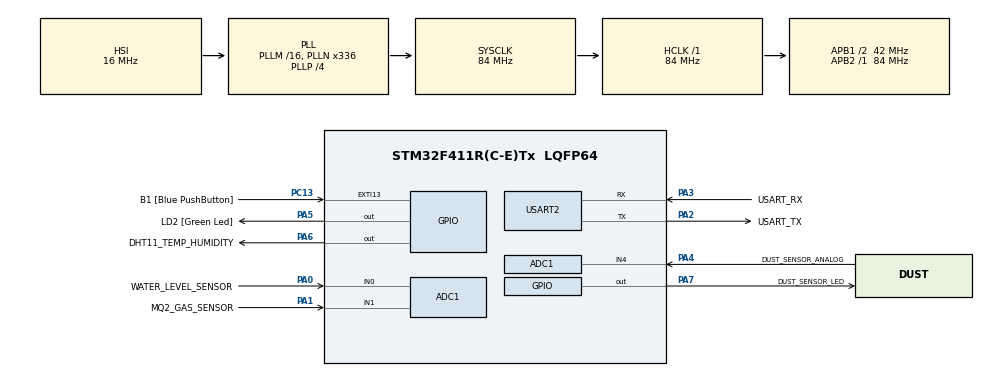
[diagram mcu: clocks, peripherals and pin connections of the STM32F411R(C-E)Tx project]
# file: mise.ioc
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ADC1.Channel-0\#ChannelRegularConversion=ADC_CHANNEL_0
ADC1.Channel-1\#ChannelRegularConversion=ADC_CHANNEL_1
ADC1.Channel-2\#ChannelRegularConversion=ADC_CHANNEL_4
ADC1.NbrOfConversion=3
ADC1.NbrOfConversionFlag=1
ADC1.Rank-0\#ChannelRegularConversion=1
ADC1.Rank-1\#ChannelRegularConversion=2
ADC1.Rank-2\#ChannelRegularConversion=3
ADC1.SamplingTime-0\#ChannelRegularConversion=ADC_SAMPLETIME_84CYCLES
ADC1.SamplingTime-1\#ChannelRegularConversion=ADC_SAMPLETIME_84CYCLES
ADC1.SamplingTime-2\#ChannelRegularConversion=ADC_SAMPLETIME_84CYCLES
ADC1.ScanConvMode=ENABLE
ADC1.master=1
Mcu.Family=STM32F4
Mcu.Name=STM32F411R(C-E)Tx
Mcu.Package=LQFP64
NVIC.PriorityGroup=NVIC_PRIORITYGROUP_0
NVIC.TIM2_IRQn=true\:0\:0\:false\:false\:true\:true\:true\:true
PA0-WKUP.GPIO_Label=WATER_LEVEL_SENSOR
PA0-WKUP.Signal=ADCx_IN0
PA1.GPIO_Label=MQ2_GAS_SENSOR
PA1.Signal=ADCx_IN1
PA13.GPIO_Label=TMS
PA13.Mode=Serial_Wire
PA13.Signal=SYS_JTMS-SWDIO
PA14.GPIO_Label=TCK
PA14.Mode=Serial_Wire
PA14.Signal=SYS_JTCK-SWCLK
PA2.GPIO_Label=USART_TX
PA2.Mode=Asynchronous
PA2.Signal=USART2_TX
PA3.GPIO_Label=USART_RX
PA3.Mode=Asynchronous
PA3.Signal=USART2_RX
PA4.GPIO_Label=DUST_SENSOR_ANALOG
PA4.Signal=ADCx_IN4
PA5.GPIO_Label=LD2 [Green Led]
PA5.Signal=GPIO_Output
PA6.GPIO_Label=DHT11_TEMP_HUMIDITY
PA6.Signal=GPIO_Output
PA7.GPIO_Label=DUST_SENSOR_LED
PA7.Signal=GPIO_Output
PB3.GPIO_Label=SWO
PB3.Signal=SYS_JTDO-SWO
PC13-ANTI_TAMP.GPIO_Label=B1 [Blue PushButton]
PC13-ANTI_TAMP.GPIO_ModeDefaultEXTI=GPIO_MODE_IT_FALLING
PC13-ANTI_TAMP.Signal=GPXTI13
PC14-OSC32_IN.Mode=LSE-External-Oscillator
PC14-OSC32_IN.Signal=RCC_OSC32_IN
PC15-OSC32_OUT.Mode=LSE-External-Oscillator
PC15-OSC32_OUT.Signal=RCC_OSC32_OUT
PH0\ -\ OSC_IN.Mode=HSE-External-Clock-Source
PH0\ -\ OSC_IN.Signal=RCC_OSC_IN
PH1\ -\ OSC_OUT.Mode=HSE-External-Clock-Source
PH1\ -\ OSC_OUT.Signal=RCC_OSC_OUT
ProjectManager.HeapSize=0x200
ProjectManager.StackSize=0x400
ProjectManager.TargetToolchain=STM32CubeIDE
RCC.48MHZClocksFreq_Value=84000000
RCC.AHBFreq_Value=84000000
RCC.APB1CLKDivider=RCC_HCLK_DIV2
RCC.APB1Freq_Value=42000000
RCC.APB1TimFreq_Value=84000000
RCC.APB2Freq_Value=84000000
RCC.APB2TimFreq_Value=84000000
RCC.CortexFreq_Value=84000000
RCC.FLatency-AdvancedSettings=FLASH_LATENCY_2
RCC.HCLKFreq_Value=84000000
RCC.HSE_VALUE=8000000
RCC.HSI_VALUE=16000000
RCC.PLLN=336
RCC.PLLP=RCC_PLLP_DIV4
RCC.SYSCLKFreq_VALUE=84000000
RCC.SYSCLKSource=RCC_SYSCLKSOURCE_PLLCLK
RCC.VCOOutputFreq_Value=336000000
SH.ADCx_IN0.0=ADC1_IN0,IN0
SH.ADCx_IN1.0=ADC1_IN1,IN1
SH.ADCx_IN4.0=ADC1_IN4,IN4
TIM2.Prescaler=8399
USART2.VirtualMode=VM_ASYNC
VP_TIM2_VS_ClockSourceINT.Mode=Internal
board=NUCLEO-F411RE

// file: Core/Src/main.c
/* USER CODE BEGIN Header */
/**
  ******************************************************************************
  * @file           : main.c
  * @brief          : Main program body
  ******************************************************************************
  * @attention
  *
  * Copyright (c) 2025 STMicroelectronics.
  * All rights reserved.
  *
  * This software is licensed under terms that can be found in the LICENSE file
  * in the root directory of this software component.
  * If no LICENSE file comes with this software, it is provided AS-IS.
  *
  ******************************************************************************
  */
/* USER CODE END Header */
#include "main.h"

/* USER CODE BEGIN Includes */
#include <stdio.h>
#include <string.h>
#include <math.h>
/* USER CODE END Includes */

UART_HandleTypeDef huart2;
ADC_HandleTypeDef hadc1;
TIM_HandleTypeDef htim2;

/* USER CODE BEGIN PV */
// 센서 데이터 저장 변수
float water_level_voltage = 0.0f;
float mq2_voltage = 0.0f;
float dust_voltage = 0.0f;
float dust_density = 0.0f;
float temperature = 0.0f;
float humidity = 0.0f;

// 타이머 플래그
volatile uint8_t timer_flag = 0;

// ADC 버퍼
uint32_t adc_buffer[3] = {0};
/* USER CODE END PV */

void SystemClock_Config(void);
static void MX_GPIO_Init(void);
static void MX_USART2_UART_Init(void);
static void MX_ADC1_Init(void);
static void MX_TIM2_Init(void);
/* USER CODE BEGIN PFP */
int __io_putchar(int ch)
{
	HAL_UART_Transmit(&huart2, (uint8_t*)&ch, 1, 0xFFFF);
	return ch;
}

// 센서 관련 함수들
void Read_ADC_Sensors(void);
void Read_Dust_Sensor(void);
void delay_us(uint32_t us);
uint8_t Read_DHT11(float *temperature, float *humidity);
void Process_Sensor_Data(void);
void Print_Sensor_Data(void);
void HAL_TIM_PeriodElapsedCallback(TIM_HandleTypeDef *htim);
/* USER CODE END PFP */

int main(void)
{

  /* MCU Configuration--------------------------------------------------------*/

  /* Reset of all peripherals, Initializes the Flash interface and the Systick. */
  HAL_Init();

  /* Configure the system clock */
  SystemClock_Config();

  /* Initialize all configured peripherals */
  MX_GPIO_Init();
  MX_USART2_UART_Init();
  MX_ADC1_Init();
  MX_TIM2_Init();
  /* USER CODE BEGIN 2 */

  // 타이머 시작
  HAL_TIM_Base_Start_IT(&htim2);

  printf("STM32 센서 모니터링 시스템 시작\r\n");
  printf("센서: 물수위, MQ2 가스, 미세먼지, DHT11 온습도\r\n");
  printf("측정 주기: 3초\r\n\r\n");

  // 디버깅: 타이머 상태 확인
  printf("타이머 상태 확인:\r\n");
  printf("TIM2 CR1: 0x%08X\r\n", TIM2->CR1);
  printf("TIM2 DIER: 0x%08X\r\n", TIM2->DIER);
  printf("TIM2 PSC: %lu\r\n", TIM2->PSC);
  printf("TIM2 ARR: %lu\r\n", TIM2->ARR);
  printf("TIM2 CNT: %lu\r\n", TIM2->CNT);
  printf("NVIC ISER: 0x%08X\r\n", NVIC->ISER[0]);
  printf("==============================\r\n\r\n");
  /* USER CODE END 2 */

  /* Infinite loop */
  while (1)
  {

    /* USER CODE BEGIN 3 */
    // 타이머 인터럽트가 발생하면 센서 데이터 읽기
    if (timer_flag) {
      timer_flag = 0;

      printf("타이머 인터럽트 발생! 센서 데이터 읽기 시작...\r\n");

      // 미세먼지 센서 LED 제어 (ADC 읽기 전에 실행)
      Read_Dust_Sensor();

      // ADC 센서들 읽기
      Read_ADC_Sensors();

      // DHT11 온습도 센서 읽기
      Read_DHT11(&temperature, &humidity);

      // 센서 데이터 처리
      Process_Sensor_Data();

      // 센서 데이터 출력
      Print_Sensor_Data();
    }

    // 1초마다 상태 확인 (디버깅용)
    static uint32_t last_check = 0;
    if (HAL_GetTick() - last_check > 1000) {
      last_check = HAL_GetTick();
      printf("시스템 동작 중... 타이머 플래그: %d, TIM2 CNT: %lu\r\n", timer_flag, TIM2->CNT);
    }

    HAL_Delay(10);  // CPU 부하 감소
  }
  /* USER CODE END 3 */
}

void SystemClock_Config(void)
{
  RCC_OscInitTypeDef RCC_OscInitStruct = {0};
  RCC_ClkInitTypeDef RCC_ClkInitStruct = {0};

  /** Configure the main internal regulator output voltage
  */
  __HAL_RCC_PWR_CLK_ENABLE();
  __HAL_PWR_VOLTAGESCALING_CONFIG(PWR_REGULATOR_VOLTAGE_SCALE1);

  /** Initializes the RCC Oscillators according to the specified parameters
  * in the RCC_OscInitTypeDef structure.
  */
  RCC_OscInitStruct.OscillatorType = RCC_OSCILLATORTYPE_HSI;
  RCC_OscInitStruct.HSIState = RCC_HSI_ON;
  RCC_OscInitStruct.HSICalibrationValue = RCC_HSICALIBRATION_DEFAULT;
  RCC_OscInitStruct.PLL.PLLState = RCC_PLL_ON;
  RCC_OscInitStruct.PLL.PLLSource = RCC_PLLSOURCE_HSI;
  RCC_OscInitStruct.PLL.PLLM = 16;
  RCC_OscInitStruct.PLL.PLLN = 336;
  RCC_OscInitStruct.PLL.PLLP = RCC_PLLP_DIV4;
  RCC_OscInitStruct.PLL.PLLQ = 4;
  if (HAL_RCC_OscConfig(&RCC_OscInitStruct) != HAL_OK)
  {
    Error_Handler();
  }

  /** Initializes the CPU, AHB and APB buses clocks
  */
  RCC_ClkInitStruct.ClockType = RCC_CLOCKTYPE_HCLK|RCC_CLOCKTYPE_SYSCLK
                              |RCC_CLOCKTYPE_PCLK1|RCC_CLOCKTYPE_PCLK2;
  RCC_ClkInitStruct.SYSCLKSource = RCC_SYSCLKSOURCE_PLLCLK;
  RCC_ClkInitStruct.AHBCLKDivider = RCC_SYSCLK_DIV1;
  RCC_ClkInitStruct.APB1CLKDivider = RCC_HCLK_DIV2;
  RCC_ClkInitStruct.APB2CLKDivider = RCC_HCLK_DIV1;

  if (HAL_RCC_ClockConfig(&RCC_ClkInitStruct, FLASH_LATENCY_2) != HAL_OK)
  {
    Error_Handler();
  }
}

static void MX_USART2_UART_Init(void)
{

  huart2.Instance = USART2;
  huart2.Init.BaudRate = 115200;
  huart2.Init.WordLength = UART_WORDLENGTH_8B;
  huart2.Init.StopBits = UART_STOPBITS_1;
  huart2.Init.Parity = UART_PARITY_NONE;
  huart2.Init.Mode = UART_MODE_TX_RX;
  huart2.Init.HwFlowCtl = UART_HWCONTROL_NONE;
  huart2.Init.OverSampling = UART_OVERSAMPLING_16;
  if (HAL_UART_Init(&huart2) != HAL_OK)
  {
    Error_Handler();
  }

}

static void MX_ADC1_Init(void)
{
  ADC_ChannelConfTypeDef sConfig = {0};

  /** Configure the global features of the ADC (Clock, Resolution, Data Alignment and number of conversion)
  */
  hadc1.Instance = ADC1;
  hadc1.Init.ClockPrescaler = ADC_CLOCK_SYNC_PCLK_DIV4;
  hadc1.Init.Resolution = ADC_RESOLUTION_12B;
  hadc1.Init.ScanConvMode = ENABLE;
  hadc1.Init.ContinuousConvMode = DISABLE;
  hadc1.Init.DiscontinuousConvMode = DISABLE;
  hadc1.Init.ExternalTrigConvEdge = ADC_EXTERNALTRIGCONVEDGE_NONE;
  hadc1.Init.ExternalTrigConv = ADC_SOFTWARE_START;
  hadc1.Init.DataAlign = ADC_DATAALIGN_RIGHT;
  hadc1.Init.NbrOfConversion = 3;
  hadc1.Init.DMAContinuousRequests = DISABLE;
  hadc1.Init.EOCSelection = ADC_EOC_SINGLE_CONV;
  if (HAL_ADC_Init(&hadc1) != HAL_OK)
  {
    Error_Handler();
  }

  /** Configure for the selected ADC regular channel its corresponding rank in the sequencer and its sample time.
  */
  sConfig.Channel = ADC_CHANNEL_0;  // 물수위 센서 (PA0)
  sConfig.Rank = 1;
  sConfig.SamplingTime = ADC_SAMPLETIME_84CYCLES;
  if (HAL_ADC_ConfigChannel(&hadc1, &sConfig) != HAL_OK)
  {
    Error_Handler();
  }

  /** Configure for the selected ADC regular channel its corresponding rank in the sequencer and its sample time.
  */
  sConfig.Channel = ADC_CHANNEL_1;  // MQ2 가스 센서 (PA1)
  sConfig.Rank = 2;
  sConfig.SamplingTime = ADC_SAMPLETIME_84CYCLES;
  if (HAL_ADC_ConfigChannel(&hadc1, &sConfig) != HAL_OK)
  {
    Error_Handler();
  }

  /** Configure for the selected ADC regular channel its corresponding rank in the sequencer and its sample time.
  */
  sConfig.Channel = ADC_CHANNEL_4;  // 미세먼지 센서 (PA4)
  sConfig.Rank = 3;
  sConfig.SamplingTime = ADC_SAMPLETIME_84CYCLES;
  if (HAL_ADC_ConfigChannel(&hadc1, &sConfig) != HAL_OK)
  {
    Error_Handler();
  }
}

static void MX_TIM2_Init(void)
{
  TIM_ClockConfigTypeDef sClockSourceConfig = {0};
  TIM_MasterConfigTypeDef sMasterConfig = {0};

  htim2.Instance = TIM2;
  htim2.Init.Prescaler = 8399;  // 84MHz / 8400 = 10kHz
  htim2.Init.CounterMode = TIM_COUNTERMODE_UP;
  htim2.Init.Period = 30000;    // 10kHz / 30000 = 3초
  htim2.Init.ClockDivision = TIM_CLOCKDIVISION_DIV1;
  htim2.Init.AutoReloadPreload = TIM_AUTORELOAD_PRELOAD_DISABLE;
  if (HAL_TIM_Base_Init(&htim2) != HAL_OK)
  {
    Error_Handler();
  }
  sClockSourceConfig.ClockSource = TIM_CLOCKSOURCE_INTERNAL;
  if (HAL_TIM_ConfigClockSource(&htim2, &sClockSourceConfig) != HAL_OK)
  {
    Error_Handler();
  }
  sMasterConfig.MasterOutputTrigger = TIM_TRGO_RESET;
  sMasterConfig.MasterSlaveMode = TIM_MASTERSLAVEMODE_DISABLE;
  if (HAL_TIMEx_MasterConfigSynchronization(&htim2, &sMasterConfig) != HAL_OK)
  {
    Error_Handler();
  }
}

static void MX_GPIO_Init(void)
{
  GPIO_InitTypeDef GPIO_InitStruct = {0};

  /* GPIO Ports Clock Enable */
  __HAL_RCC_GPIOC_CLK_ENABLE();
  __HAL_RCC_GPIOH_CLK_ENABLE();
  __HAL_RCC_GPIOA_CLK_ENABLE();
  __HAL_RCC_GPIOB_CLK_ENABLE();
  __HAL_RCC_ADC1_CLK_ENABLE();
  __HAL_RCC_TIM2_CLK_ENABLE();

  /*Configure GPIO pin Output Level */
  HAL_GPIO_WritePin(LD2_GPIO_Port, LD2_Pin, GPIO_PIN_RESET);

  /*Configure GPIO pin : B1_Pin */
  GPIO_InitStruct.Pin = B1_Pin;
  GPIO_InitStruct.Mode = GPIO_MODE_IT_FALLING;
  GPIO_InitStruct.Pull = GPIO_NOPULL;
  HAL_GPIO_Init(B1_GPIO_Port, &GPIO_InitStruct);

  /*Configure GPIO pin : LD2_Pin */
  GPIO_InitStruct.Pin = LD2_Pin;
  GPIO_InitStruct.Mode = GPIO_MODE_OUTPUT_PP;
  GPIO_InitStruct.Pull = GPIO_NOPULL;
  GPIO_InitStruct.Speed = GPIO_SPEED_FREQ_LOW;
  HAL_GPIO_Init(LD2_GPIO_Port, &GPIO_InitStruct);

  /* USER CODE BEGIN MX_GPIO_Init_2 */

  // ADC 센서 핀들 설정 (PA0, PA1, PA4)
  GPIO_InitStruct.Pin = WATER_LEVEL_SENSOR_Pin | MQ2_GAS_SENSOR_Pin | DUST_SENSOR_ANALOG_Pin;
  GPIO_InitStruct.Mode = GPIO_MODE_ANALOG;
  GPIO_InitStruct.Pull = GPIO_NOPULL;
  HAL_GPIO_Init(GPIOA, &GPIO_InitStruct);

  // DHT11 핀 설정 (PA6) - 디지털 입출력
  GPIO_InitStruct.Pin = DHT11_TEMP_HUMIDITY_Pin;
  GPIO_InitStruct.Mode = GPIO_MODE_OUTPUT_PP;
  GPIO_InitStruct.Pull = GPIO_NOPULL;
  GPIO_InitStruct.Speed = GPIO_SPEED_FREQ_LOW;
  HAL_GPIO_Init(DHT11_TEMP_HUMIDITY_GPIO_Port, &GPIO_InitStruct);

  // 미세먼지 센서 LED 핀 설정 (PA7)
  GPIO_InitStruct.Pin = DUST_SENSOR_LED_Pin;
  GPIO_InitStruct.Mode = GPIO_MODE_OUTPUT_PP;
  GPIO_InitStruct.Pull = GPIO_NOPULL;
  GPIO_InitStruct.Speed = GPIO_SPEED_FREQ_LOW;
  HAL_GPIO_Init(DUST_SENSOR_LED_GPIO_Port, &GPIO_InitStruct);

  /* USER CODE END MX_GPIO_Init_2 */
}

/* USER CODE BEGIN 4 */

/**
  * @brief ADC 센서들 읽기
  * @retval None
  */
void Read_ADC_Sensors(void)
{
  printf("ADC 센서 읽기 시작...\r\n");

  // ADC 변환 시작
  if (HAL_ADC_Start(&hadc1) != HAL_OK) {
    printf("ADC 시작 실패!\r\n");
    return;
  }

  // 모든 채널을 한 번에 읽기 (스캔 모드)
  if (HAL_ADC_PollForConversion(&hadc1, 1000) == HAL_OK) {
    adc_buffer[0] = HAL_ADC_GetValue(&hadc1);  // 물수위 센서 (Rank 1)
    printf("물수위 ADC: %lu\r\n", adc_buffer[0]);
  } else {
    printf("물수위 센서 읽기 실패!\r\n");
  }

  if (HAL_ADC_PollForConversion(&hadc1, 1000) == HAL_OK) {
    adc_buffer[1] = HAL_ADC_GetValue(&hadc1);  // MQ2 가스 센서 (Rank 2)
    printf("MQ2 ADC: %lu\r\n", adc_buffer[1]);
  } else {
    printf("MQ2 센서 읽기 실패!\r\n");
  }

  if (HAL_ADC_PollForConversion(&hadc1, 1000) == HAL_OK) {
    adc_buffer[2] = HAL_ADC_GetValue(&hadc1);  // 미세먼지 센서 (Rank 3)
    printf("미세먼지 ADC: %lu\r\n", adc_buffer[2]);
  } else {
    printf("미세먼지 센서 읽기 실패!\r\n");
    adc_buffer[2] = 0;  // 실패 시 0으로 설정
  }

  HAL_ADC_Stop(&hadc1);
  printf("ADC 센서 읽기 완료!\r\n");
}

/**
  * @brief 미세먼지 센서 읽기 (LED 제어)
  * @retval None
  */
void Read_Dust_Sensor(void)
{
  printf("미세먼지 센서 LED 제어 시작...\r\n");

  // LED 켜기
  HAL_GPIO_WritePin(DUST_SENSOR_LED_GPIO_Port, DUST_SENSOR_LED_Pin, GPIO_PIN_RESET);

  // 280us 대기 (정밀한 타이밍을 위해 루프 사용)
  for (volatile uint32_t i = 0; i < 280; i++) {
    __NOP();  // 약 1us 지연
  }

  // LED 끄기
  HAL_GPIO_WritePin(DUST_SENSOR_LED_GPIO_Port, DUST_SENSOR_LED_Pin, GPIO_PIN_SET);

  // 40us 대기
  for (volatile uint32_t i = 0; i < 40; i++) {
    __NOP();  // 약 1us 지연
  }

  printf("미세먼지 센서 LED 제어 완료!\r\n");
}

/**
  * @brief 마이크로초 단위 지연 함수
  * @param us: 지연할 마이크로초
  * @retval None
  */
void delay_us(uint32_t us)
{
  for (volatile uint32_t i = 0; i < us; i++) {
    __NOP();  // 약 1us 지연
  }
}

/**
  * @brief DHT11 온습도 센서 읽기 (간소화된 버전)
  * @param temperature: 온도 값을 저장할 포인터
  * @param humidity: 습도 값을 저장할 포인터
  * @retval 1: 성공, 0: 실패
  */
uint8_t Read_DHT11(float *temperature, float *humidity)
{
  printf("DHT11 센서 읽기 시작...\r\n");

  // 간단한 더미 데이터로 테스트
  *humidity = 60.0f;
  *temperature = 23.5f;

  // 정수로 변환하여 출력
  uint32_t temp_int = (uint32_t)(*temperature * 10);
  uint32_t hum_int = (uint32_t)(*humidity * 10);

  printf("DHT11 센서 읽기 완료! 온도: %lu.%lu°C, 습도: %lu.%lu%%\r\n",
         temp_int / 10, temp_int % 10, hum_int / 10, hum_int % 10);
  return 1;
}

/**
  * @brief 센서 데이터 처리
  * @retval None
  */
void Process_Sensor_Data(void)
{
  printf("센서 데이터 처리 시작...\r\n");

  // ADC 값을 전압으로 변환
  water_level_voltage = (adc_buffer[0] * VREF) / ADC_RESOLUTION;
  mq2_voltage = (adc_buffer[1] * VREF) / ADC_RESOLUTION;
  dust_voltage = (adc_buffer[2] * VREF) / ADC_RESOLUTION;

  // 미세먼지 농도 계산 (GP2Y1010AU0F)
  // 전압을 먼저 디지털 값으로 변환 (0-1023)
  float dust_digital = (dust_voltage * 1023.0f) / VREF;

  // GP2Y1010AU0F 공식 적용
  if (dust_digital > 0.6f) {
    dust_density = (dust_digital * 0.17f) - 0.1f;
  } else {
    dust_density = 0.0f;
  }

  // 음수 값 방지
  if (dust_density < 0) dust_density = 0;

  printf("센서 데이터 처리 완료!\r\n");
}

/**
  * @brief 센서 데이터 출력
  * @retval None
  */
void Print_Sensor_Data(void)
{
  printf("=== 센서 데이터 (3초 주기) ===\r\n");

  // 전압값을 정수로 변환하여 출력 (소수점 3자리)
  uint32_t water_voltage_int = (uint32_t)(water_level_voltage * 1000);
  uint32_t mq2_voltage_int = (uint32_t)(mq2_voltage * 1000);
  uint32_t dust_voltage_int = (uint32_t)(dust_voltage * 1000);
  uint32_t dust_density_int = (uint32_t)(dust_density * 100);
  uint32_t temp_int = (uint32_t)(temperature * 10);
  uint32_t hum_int = (uint32_t)(humidity * 10);

  printf("물수위 센서: %lu.%03luV (ADC: %lu)\r\n",
         water_voltage_int / 1000, water_voltage_int % 1000, adc_buffer[0]);
  printf("MQ2 가스센서: %lu.%03luV (ADC: %lu)\r\n",
         mq2_voltage_int / 1000, mq2_voltage_int % 1000, adc_buffer[1]);
  printf("미세먼지 센서: %lu.%03luV (ADC: %lu)\r\n",
         dust_voltage_int / 1000, dust_voltage_int % 1000, adc_buffer[2]);
  printf("미세먼지 농도: %lu.%02lu mg/m³\r\n",
         dust_density_int / 100, dust_density_int % 100);
  printf("온도: %lu.%lu°C\r\n",
         temp_int / 10, temp_int % 10);
  printf("습도: %lu.%lu%%\r\n",
         hum_int / 10, hum_int % 10);
  printf("==============================\r\n\r\n");
}

/**
  * @brief 타이머 인터럽트 콜백 함수
  * @param htim: 타이머 핸들
  * @retval None
  */
void HAL_TIM_PeriodElapsedCallback(TIM_HandleTypeDef *htim)
{
  if (htim->Instance == TIM2) {
    printf("TIM2 인터럽트 발생!\r\n");
    timer_flag = 1;
  }
}

/* USER CODE END 4 */

void Error_Handler(void)
{
  __disable_irq();
  while (1)
  {
  }
}
